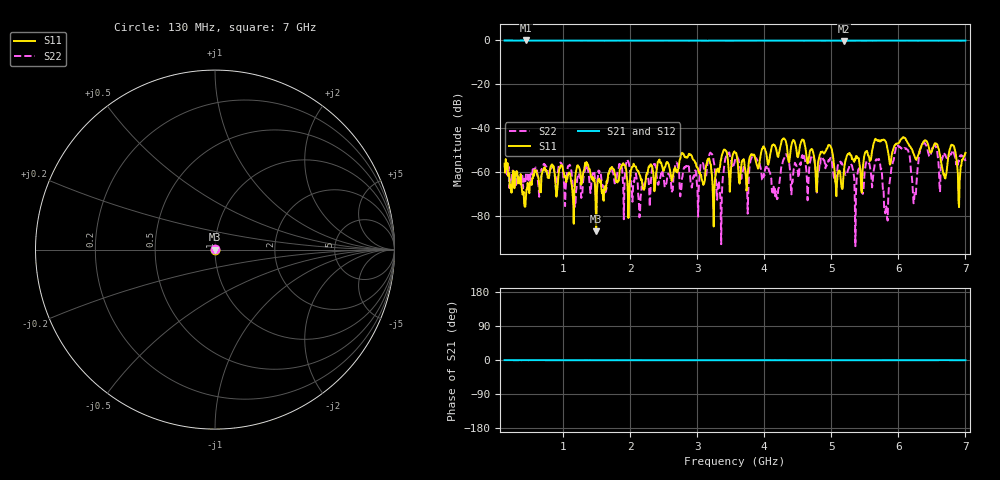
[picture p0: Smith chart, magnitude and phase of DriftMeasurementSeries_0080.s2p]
# Hz S RI R 50.000000
! Metas.Vna.Tools, 2.8.8664.20301
! Metas.Vna.Data, 2.8.8664.20285
! Created: UTC 2024.02.11 10:08:42
! FREQ  re:S1,1  im:S1,1  re:S2,1  im:S2,1  re:S1,2  im:S1,2  re:S2,2  im:S2,2
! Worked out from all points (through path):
!   801 points, 130 MHz to 7 GHz, reference 50 ohm
!   highest |S21| = -0.02 dB at 447.7 MHz (marker M1); lowest = -0.2 dB at 5.188 GHz (marker M2)
!   lowest |S11| = -87.2 dB at 1.495 GHz (marker M3), VSWR 1.00, Z = 50 - j0.0025 ohm
!   |S11| at or under -10 dB: start of sweep to end of sweep
!   |S22| runs from -93.9 to -46.8 dB; largest |S21 - S12| = 0.021
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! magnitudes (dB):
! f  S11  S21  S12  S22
! 130 MHz  -56.3  0.0  0.0  -58.0
! 447.7 MHz  -71.4  0.0  0.0  -61.2
! 1.281 GHz  -65.0  -0.1  0.0  -71.3
! 1.495 GHz  -87.2  -0.1  0.0  -78.9
! 2.423 GHz  -55.2  -0.1  0.0  -65.9
! 3.007 GHz  -58.0  -0.1  0.0  -68.8
! 3.204 GHz  -56.6  -0.1  0.0  -51.4
! 3.333 GHz  -58.3  -0.1  0.0  -68.1
! 3.445 GHz  -51.4  -0.1  0.0  -52.0
! 3.565 GHz  -51.2  -0.1  0.0  -54.6
! 4.183 GHz  -50.2  -0.1  0.0  -71.0
! 4.312 GHz  -45.3  -0.1  0.0  -52.5
! 4.716 GHz  -49.7  -0.1  0.0  -52.6
! 5.188 GHz  -60.1  -0.2  0.0  -58.6
! 5.695 GHz  -45.8  -0.1  0.0  -54.4
! 5.806 GHz  -45.9  -0.1  0.0  -78.9
! 5.858 GHz  -52.8  -0.1  0.0  -67.5
! 5.995 GHz  -46.9  -0.1  0.0  -48.3
! 6.236 GHz  -52.3  -0.1  0.0  -72.6
! 6.373 GHz  -46.2  -0.1  0.0  -47.0
! 6.691 GHz  -62.5  -0.1  0.0  -52.1
! 7 GHz  -51.3  -0.1  0.0  -55.1
